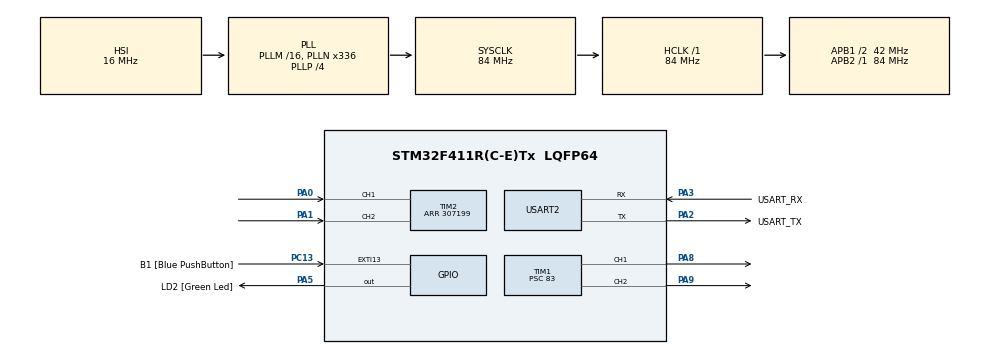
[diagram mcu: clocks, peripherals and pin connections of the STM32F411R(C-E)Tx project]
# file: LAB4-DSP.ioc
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Mcu.Family=STM32F4
Mcu.Name=STM32F411R(C-E)Tx
Mcu.Package=LQFP64
NVIC.PriorityGroup=NVIC_PRIORITYGROUP_0
NVIC.TIM3_IRQn=true\:0\:0\:false\:false\:true\:true\:true\:true
PA0-WKUP.Signal=S_TIM2_CH1_ETR
PA1.Signal=S_TIM2_CH2
PA13.GPIO_Label=TMS
PA13.Mode=Serial_Wire
PA13.Signal=SYS_JTMS-SWDIO
PA14.GPIO_Label=TCK
PA14.Mode=Serial_Wire
PA14.Signal=SYS_JTCK-SWCLK
PA2.GPIO_Label=USART_TX
PA2.Mode=Asynchronous
PA2.Signal=USART2_TX
PA3.GPIO_Label=USART_RX
PA3.Mode=Asynchronous
PA3.Signal=USART2_RX
PA5.GPIO_Label=LD2 [Green Led]
PA5.Signal=GPIO_Output
PA8.Signal=S_TIM1_CH1
PA9.Signal=S_TIM1_CH2
PB3.GPIO_Label=SWO
PB3.Signal=SYS_JTDO-SWO
PC13-ANTI_TAMP.GPIO_Label=B1 [Blue PushButton]
PC13-ANTI_TAMP.GPIO_ModeDefaultEXTI=GPIO_MODE_IT_FALLING
PC13-ANTI_TAMP.Signal=GPXTI13
PC14-OSC32_IN.Mode=LSE-External-Oscillator
PC14-OSC32_IN.Signal=RCC_OSC32_IN
PC15-OSC32_OUT.Mode=LSE-External-Oscillator
PC15-OSC32_OUT.Signal=RCC_OSC32_OUT
PH0\ -\ OSC_IN.Mode=HSE-External-Clock-Source
PH0\ -\ OSC_IN.Signal=RCC_OSC_IN
PH1\ -\ OSC_OUT.Mode=HSE-External-Clock-Source
PH1\ -\ OSC_OUT.Signal=RCC_OSC_OUT
ProjectManager.HeapSize=0x200
ProjectManager.StackSize=0x400
ProjectManager.TargetToolchain=STM32CubeIDE
RCC.48MHZClocksFreq_Value=84000000
RCC.AHBFreq_Value=84000000
RCC.APB1CLKDivider=RCC_HCLK_DIV2
RCC.APB1Freq_Value=42000000
RCC.APB1TimFreq_Value=84000000
RCC.APB2Freq_Value=84000000
RCC.APB2TimFreq_Value=84000000
RCC.CortexFreq_Value=84000000
RCC.FLatency-AdvancedSettings=FLASH_LATENCY_2
RCC.HCLKFreq_Value=84000000
RCC.HSE_VALUE=8000000
RCC.HSI_VALUE=16000000
RCC.PLLN=336
RCC.PLLP=RCC_PLLP_DIV4
RCC.SYSCLKFreq_VALUE=84000000
RCC.SYSCLKSource=RCC_SYSCLKSOURCE_PLLCLK
RCC.VCOOutputFreq_Value=336000000
SH.S_TIM1_CH1.0=TIM1_CH1,PWM Generation1 CH1
SH.S_TIM1_CH2.0=TIM1_CH2,PWM Generation2 CH2
SH.S_TIM2_CH1_ETR.0=TIM2_CH1,Encoder_Interface
SH.S_TIM2_CH2.0=TIM2_CH2,Encoder_Interface
TIM1.Channel-PWM\ Generation1\ CH1=TIM_CHANNEL_1
TIM1.Channel-PWM\ Generation2\ CH2=TIM_CHANNEL_2
TIM1.Period=99
TIM1.Prescaler=83
TIM1.Pulse-PWM\ Generation1\ CH1=0
TIM1.Pulse-PWM\ Generation2\ CH2=0
TIM2.EncoderMode=TIM_ENCODERMODE_TI12
TIM2.Period=307199
TIM3.Period=10
TIM3.Prescaler=8399
USART2.VirtualMode=VM_ASYNC
VP_TIM1_VS_ClockSourceINT.Mode=Internal
VP_TIM3_VS_ClockSourceINT.Mode=Internal
board=NUCLEO-F411RE

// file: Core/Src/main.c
/* USER CODE BEGIN Header */
/**
  ******************************************************************************
  * @file           : main.c
  * @brief          : Main program body
  ******************************************************************************
  * @attention
  *
  * Copyright (c) 2023 STMicroelectronics.
  * All rights reserved.
  *
  * This software is licensed under terms that can be found in the LICENSE file
  * in the root directory of this software component.
  * If no LICENSE file comes with this software, it is provided AS-IS.
  *
  ******************************************************************************
  */
/* USER CODE END Header */
#include "main.h"

/* USER CODE BEGIN Includes */
#include "math.h"
/* USER CODE END Includes */

TIM_HandleTypeDef htim1;
TIM_HandleTypeDef htim2;
TIM_HandleTypeDef htim3;

UART_HandleTypeDef huart2;

/* USER CODE BEGIN PV */
int32_t QEIReadRaw;
float ReadDegree = 0;
float duty = 0;
uint16_t setMotorDegree = 0;

///PID Variable ///
int32_t e;
float ePrev = 0;
float eIntegral = 0;
float dedt = 0;
float deltaT = 0.001;
float kp = 100;
float ki = 0.00001;
float kd = 0.1;
float u = 0;
/* USER CODE END PV */

void SystemClock_Config(void);
static void MX_GPIO_Init(void);
static void MX_USART2_UART_Init(void);
static void MX_TIM1_Init(void);
static void MX_TIM2_Init(void);
static void MX_TIM3_Init(void);

int main(void)
{

  /* MCU Configuration--------------------------------------------------------*/

  /* Reset of all peripherals, Initializes the Flash interface and the Systick. */
  HAL_Init();

  /* Configure the system clock */
  SystemClock_Config();

  /* Initialize all configured peripherals */
  MX_GPIO_Init();
  MX_USART2_UART_Init();
  MX_TIM1_Init();
  MX_TIM2_Init();
  MX_TIM3_Init();
  /* USER CODE BEGIN 2 */
  HAL_TIM_Base_Start(&htim1);
  HAL_TIM_PWM_Start(&htim1, TIM_CHANNEL_1);
  HAL_TIM_PWM_Start(&htim1, TIM_CHANNEL_2);

  HAL_TIM_Encoder_Start(&htim2, TIM_CHANNEL_1 | TIM_CHANNEL_2);

  HAL_TIM_Base_Start_IT(&htim3);

  /* USER CODE END 2 */

  /* Infinite loop */
  while (1)
  {

  }
}

void SystemClock_Config(void)
{
  RCC_OscInitTypeDef RCC_OscInitStruct = {0};
  RCC_ClkInitTypeDef RCC_ClkInitStruct = {0};

  /** Configure the main internal regulator output voltage
  */
  __HAL_RCC_PWR_CLK_ENABLE();
  __HAL_PWR_VOLTAGESCALING_CONFIG(PWR_REGULATOR_VOLTAGE_SCALE1);

  /** Initializes the RCC Oscillators according to the specified parameters
  * in the RCC_OscInitTypeDef structure.
  */
  RCC_OscInitStruct.OscillatorType = RCC_OSCILLATORTYPE_HSI;
  RCC_OscInitStruct.HSIState = RCC_HSI_ON;
  RCC_OscInitStruct.HSICalibrationValue = RCC_HSICALIBRATION_DEFAULT;
  RCC_OscInitStruct.PLL.PLLState = RCC_PLL_ON;
  RCC_OscInitStruct.PLL.PLLSource = RCC_PLLSOURCE_HSI;
  RCC_OscInitStruct.PLL.PLLM = 16;
  RCC_OscInitStruct.PLL.PLLN = 336;
  RCC_OscInitStruct.PLL.PLLP = RCC_PLLP_DIV4;
  RCC_OscInitStruct.PLL.PLLQ = 4;
  if (HAL_RCC_OscConfig(&RCC_OscInitStruct) != HAL_OK)
  {
    Error_Handler();
  }

  /** Initializes the CPU, AHB and APB buses clocks
  */
  RCC_ClkInitStruct.ClockType = RCC_CLOCKTYPE_HCLK|RCC_CLOCKTYPE_SYSCLK
                              |RCC_CLOCKTYPE_PCLK1|RCC_CLOCKTYPE_PCLK2;
  RCC_ClkInitStruct.SYSCLKSource = RCC_SYSCLKSOURCE_PLLCLK;
  RCC_ClkInitStruct.AHBCLKDivider = RCC_SYSCLK_DIV1;
  RCC_ClkInitStruct.APB1CLKDivider = RCC_HCLK_DIV2;
  RCC_ClkInitStruct.APB2CLKDivider = RCC_HCLK_DIV1;

  if (HAL_RCC_ClockConfig(&RCC_ClkInitStruct, FLASH_LATENCY_2) != HAL_OK)
  {
    Error_Handler();
  }
}

static void MX_TIM1_Init(void)
{

  TIM_ClockConfigTypeDef sClockSourceConfig = {0};
  TIM_MasterConfigTypeDef sMasterConfig = {0};
  TIM_OC_InitTypeDef sConfigOC = {0};
  TIM_BreakDeadTimeConfigTypeDef sBreakDeadTimeConfig = {0};

  htim1.Instance = TIM1;
  htim1.Init.Prescaler = 83;
  htim1.Init.CounterMode = TIM_COUNTERMODE_UP;
  htim1.Init.Period = 99;
  htim1.Init.ClockDivision = TIM_CLOCKDIVISION_DIV1;
  htim1.Init.RepetitionCounter = 0;
  htim1.Init.AutoReloadPreload = TIM_AUTORELOAD_PRELOAD_DISABLE;
  if (HAL_TIM_Base_Init(&htim1) != HAL_OK)
  {
    Error_Handler();
  }
  sClockSourceConfig.ClockSource = TIM_CLOCKSOURCE_INTERNAL;
  if (HAL_TIM_ConfigClockSource(&htim1, &sClockSourceConfig) != HAL_OK)
  {
    Error_Handler();
  }
  if (HAL_TIM_PWM_Init(&htim1) != HAL_OK)
  {
    Error_Handler();
  }
  sMasterConfig.MasterOutputTrigger = TIM_TRGO_RESET;
  sMasterConfig.MasterSlaveMode = TIM_MASTERSLAVEMODE_DISABLE;
  if (HAL_TIMEx_MasterConfigSynchronization(&htim1, &sMasterConfig) != HAL_OK)
  {
    Error_Handler();
  }
  sConfigOC.OCMode = TIM_OCMODE_PWM1;
  sConfigOC.Pulse = 0;
  sConfigOC.OCPolarity = TIM_OCPOLARITY_HIGH;
  sConfigOC.OCNPolarity = TIM_OCNPOLARITY_HIGH;
  sConfigOC.OCFastMode = TIM_OCFAST_DISABLE;
  sConfigOC.OCIdleState = TIM_OCIDLESTATE_RESET;
  sConfigOC.OCNIdleState = TIM_OCNIDLESTATE_RESET;
  if (HAL_TIM_PWM_ConfigChannel(&htim1, &sConfigOC, TIM_CHANNEL_1) != HAL_OK)
  {
    Error_Handler();
  }
  if (HAL_TIM_PWM_ConfigChannel(&htim1, &sConfigOC, TIM_CHANNEL_2) != HAL_OK)
  {
    Error_Handler();
  }
  sBreakDeadTimeConfig.OffStateRunMode = TIM_OSSR_DISABLE;
  sBreakDeadTimeConfig.OffStateIDLEMode = TIM_OSSI_DISABLE;
  sBreakDeadTimeConfig.LockLevel = TIM_LOCKLEVEL_OFF;
  sBreakDeadTimeConfig.DeadTime = 0;
  sBreakDeadTimeConfig.BreakState = TIM_BREAK_DISABLE;
  sBreakDeadTimeConfig.BreakPolarity = TIM_BREAKPOLARITY_HIGH;
  sBreakDeadTimeConfig.AutomaticOutput = TIM_AUTOMATICOUTPUT_DISABLE;
  if (HAL_TIMEx_ConfigBreakDeadTime(&htim1, &sBreakDeadTimeConfig) != HAL_OK)
  {
    Error_Handler();
  }
  HAL_TIM_MspPostInit(&htim1);

}

static void MX_TIM2_Init(void)
{

  TIM_Encoder_InitTypeDef sConfig = {0};
  TIM_MasterConfigTypeDef sMasterConfig = {0};

  htim2.Instance = TIM2;
  htim2.Init.Prescaler = 0;
  htim2.Init.CounterMode = TIM_COUNTERMODE_UP;
  htim2.Init.Period = 307199;
  htim2.Init.ClockDivision = TIM_CLOCKDIVISION_DIV1;
  htim2.Init.AutoReloadPreload = TIM_AUTORELOAD_PRELOAD_DISABLE;
  sConfig.EncoderMode = TIM_ENCODERMODE_TI12;
  sConfig.IC1Polarity = TIM_ICPOLARITY_RISING;
  sConfig.IC1Selection = TIM_ICSELECTION_DIRECTTI;
  sConfig.IC1Prescaler = TIM_ICPSC_DIV1;
  sConfig.IC1Filter = 0;
  sConfig.IC2Polarity = TIM_ICPOLARITY_RISING;
  sConfig.IC2Selection = TIM_ICSELECTION_DIRECTTI;
  sConfig.IC2Prescaler = TIM_ICPSC_DIV1;
  sConfig.IC2Filter = 0;
  if (HAL_TIM_Encoder_Init(&htim2, &sConfig) != HAL_OK)
  {
    Error_Handler();
  }
  sMasterConfig.MasterOutputTrigger = TIM_TRGO_RESET;
  sMasterConfig.MasterSlaveMode = TIM_MASTERSLAVEMODE_DISABLE;
  if (HAL_TIMEx_MasterConfigSynchronization(&htim2, &sMasterConfig) != HAL_OK)
  {
    Error_Handler();
  }

}

static void MX_TIM3_Init(void)
{

  TIM_ClockConfigTypeDef sClockSourceConfig = {0};
  TIM_MasterConfigTypeDef sMasterConfig = {0};

  htim3.Instance = TIM3;
  htim3.Init.Prescaler = 8399;
  htim3.Init.CounterMode = TIM_COUNTERMODE_UP;
  htim3.Init.Period = 10;
  htim3.Init.ClockDivision = TIM_CLOCKDIVISION_DIV1;
  htim3.Init.AutoReloadPreload = TIM_AUTORELOAD_PRELOAD_DISABLE;
  if (HAL_TIM_Base_Init(&htim3) != HAL_OK)
  {
    Error_Handler();
  }
  sClockSourceConfig.ClockSource = TIM_CLOCKSOURCE_INTERNAL;
  if (HAL_TIM_ConfigClockSource(&htim3, &sClockSourceConfig) != HAL_OK)
  {
    Error_Handler();
  }
  sMasterConfig.MasterOutputTrigger = TIM_TRGO_RESET;
  sMasterConfig.MasterSlaveMode = TIM_MASTERSLAVEMODE_DISABLE;
  if (HAL_TIMEx_MasterConfigSynchronization(&htim3, &sMasterConfig) != HAL_OK)
  {
    Error_Handler();
  }

}

static void MX_USART2_UART_Init(void)
{

  huart2.Instance = USART2;
  huart2.Init.BaudRate = 115200;
  huart2.Init.WordLength = UART_WORDLENGTH_8B;
  huart2.Init.StopBits = UART_STOPBITS_1;
  huart2.Init.Parity = UART_PARITY_NONE;
  huart2.Init.Mode = UART_MODE_TX_RX;
  huart2.Init.HwFlowCtl = UART_HWCONTROL_NONE;
  huart2.Init.OverSampling = UART_OVERSAMPLING_16;
  if (HAL_UART_Init(&huart2) != HAL_OK)
  {
    Error_Handler();
  }

}

static void MX_GPIO_Init(void)
{
  GPIO_InitTypeDef GPIO_InitStruct = {0};

  /* GPIO Ports Clock Enable */
  __HAL_RCC_GPIOC_CLK_ENABLE();
  __HAL_RCC_GPIOH_CLK_ENABLE();
  __HAL_RCC_GPIOA_CLK_ENABLE();
  __HAL_RCC_GPIOB_CLK_ENABLE();

  /*Configure GPIO pin Output Level */
  HAL_GPIO_WritePin(LD2_GPIO_Port, LD2_Pin, GPIO_PIN_RESET);

  /*Configure GPIO pin : B1_Pin */
  GPIO_InitStruct.Pin = B1_Pin;
  GPIO_InitStruct.Mode = GPIO_MODE_IT_FALLING;
  GPIO_InitStruct.Pull = GPIO_NOPULL;
  HAL_GPIO_Init(B1_GPIO_Port, &GPIO_InitStruct);

  /*Configure GPIO pin : LD2_Pin */
  GPIO_InitStruct.Pin = LD2_Pin;
  GPIO_InitStruct.Mode = GPIO_MODE_OUTPUT_PP;
  GPIO_InitStruct.Pull = GPIO_NOPULL;
  GPIO_InitStruct.Speed = GPIO_SPEED_FREQ_LOW;
  HAL_GPIO_Init(LD2_GPIO_Port, &GPIO_InitStruct);

}

/* USER CODE BEGIN 4 */
void HAL_TIM_PeriodElapsedCallback(TIM_HandleTypeDef *htim){
	///https://www.youtube.com/watch?v=dTGITLnYAY0&t=500s ///
	if(htim == &htim3){

		QEIReadRaw = __HAL_TIM_GET_COUNTER(&htim2); // ReadEncoder
		ReadDegree = (QEIReadRaw * 36000) / 307200.0;

		e = setMotorDegree - ReadDegree;

		dedt = (e - ePrev) / deltaT;

		eIntegral = eIntegral + e*deltaT;

		u = kp*e + kd*dedt + ki*eIntegral;

		duty = fabs(u);
		if(duty > 100){
			duty = 100;
		}
		if(u < 0){ /// forward
			__HAL_TIM_SET_COMPARE(&htim1, TIM_CHANNEL_1, duty);
			__HAL_TIM_SET_COMPARE(&htim1, TIM_CHANNEL_2, 0);
		}
		else if(u > 0){ /// backward
			__HAL_TIM_SET_COMPARE(&htim1, TIM_CHANNEL_2, duty);
			__HAL_TIM_SET_COMPARE(&htim1, TIM_CHANNEL_1, 0);
		}

		ePrev = e;
	}
}
/* USER CODE END 4 */

void Error_Handler(void)
{
  __disable_irq();
  while (1)
  {
  }
}
